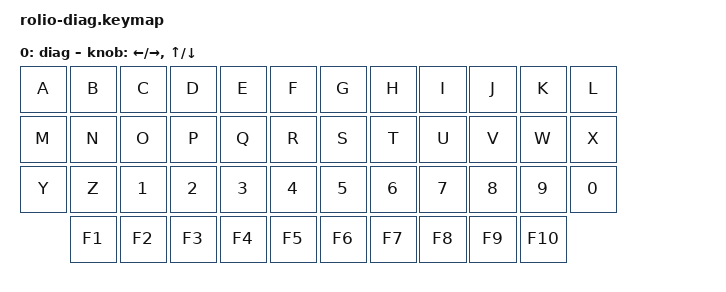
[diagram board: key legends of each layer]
// -*- mode: dts -*-
/*
 * Rolio matrix diagnostic keymap. NOT a usable layout.
 *
 * Deliberately does not include jjb.keymap: no combos, no home-row mods, no
 * hold-taps, no adaptive keys, no leader. Every one of the 46 positions emits
 * exactly one distinct keycode, so a single pass over the keyboard reveals the
 * true position -> physical key mapping with no behaviour swallowing presses.
 *
 * Build:
 *   west build -s zmk/app -d .build/rolio_diag -b rolio3/nrf52840/zmk -p -- \
 *     -DZMK_CONFIG=$PWD/config -DSHIELD="rolio_left vista508" \
 *     -DKEYMAP_FILE=$PWD/config/rolio-diag.keymap
 *
 * Expected output per position:
 *   row0 L 0-5   a b c d e f      row0 R 6-11   g h i j k l
 *   row1 L 12-17 m n o p q r      row1 R 18-23  s t u v w x
 *   row2 L 24-29 y z 1 2 3 4      row2 R 30-35  5 6 7 8 9 0
 *   row3 L 36-40 F1 F2 F3 F4 F5   row3 R 41-45  F6 F7 F8 F9 F10
 */

#include <behaviors.dtsi>
#include <dt-bindings/zmk/keys.h>

/ {
    keymap {
        compatible = "zmk,keymap";

        diag_layer {
            display-name = "diag";
            bindings = <
&kp A  &kp B  &kp C  &kp D  &kp E  &kp F        &kp G  &kp H  &kp I  &kp J  &kp K  &kp L
&kp M  &kp N  &kp O  &kp P  &kp Q  &kp R        &kp S  &kp T  &kp U  &kp V  &kp W  &kp X
&kp Y  &kp Z  &kp N1 &kp N2 &kp N3 &kp N4       &kp N5 &kp N6 &kp N7 &kp N8 &kp N9 &kp N0
       &kp F1 &kp F2 &kp F3 &kp F4 &kp F5    &kp F6 &kp F7 &kp F8 &kp F9 &kp F10
            >;
            sensor-bindings = <&inc_dec_kp LEFT RIGHT &inc_dec_kp UP DOWN>;
        };
    };
};
